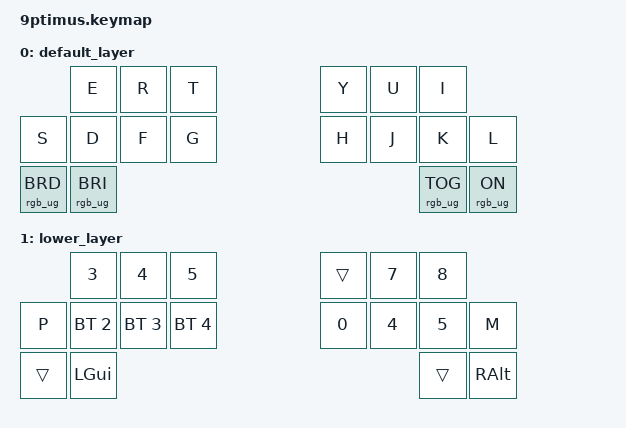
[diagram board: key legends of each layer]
/*
 * Copyright (c) 2020 The ZMK Contributors
 *
 * SPDX-License-Identifier: MIT
 */

#include <behaviors.dtsi>
#include <dt-bindings/zmk/keys.h>
#include <dt-bindings/zmk/bt.h>
#include <dt-bindings/zmk/rgb.h>




/ {

        keymap {

                compatible = "zmk,keymap";

                default_layer {
// -----------------------------------------------------------------------------------------
// |  TAB |  Q  |  W  |  E  |  R  |  T  |   |  Y  |  U   |  I  |  O  |  P  | BKSP |
// | CTRL |  A  |  S  |  D  |  F  |  G  |   |  H  |  J   |  K  |  L  |  ;  |  '   |
// | SHFT |  Z  |  X  |  C  |  V  |  B  |   |  N  |  M   |  ,  |  .  |  /  |
//                    | GUI | LWR | SPC |   | ENT | RSE  | ALT |
                        bindings = <
               &kp E &kp R &kp T                &kp Y &kp U  &kp I       
         &kp S &kp D &kp F &kp G                &kp H &kp J  &kp K     &kp L   
          &rgb_ug RGB_BRD  &rgb_ug RGB_BRI          &rgb_ug RGB_TOG &rgb_ug RGB_ON
                        >;
                };
                lower_layer {
// -----------------------------------------------------------------------------------------
// |  TAB |  1  |  2  |  3  |  4  |  5  |   |  6  |  7  |  8  |  9  |  0  | BKSP |
// | BTCLR| BT1 | BT2 | BT3 | BT4 | BT5 |   | LFT | DWN |  UP | RGT |     |      |
// | SHFT |     |     |     |     |     |   |     |     |     |     |     |      |
//                    | GUI |     | SPC |   | ENT |     | ALT |
                        bindings = <
        &kp N3       &kp N4       &kp N5               &trans   &kp N7   &kp N8 
    &kp P &bt BT_SEL 2 &bt BT_SEL 3 &bt BT_SEL 4        &kp N0   &kp N4   &kp N5 &kp M
                         &trans    &kp LGUI         &trans   &kp RALT
                        >;
                };

    };
};
